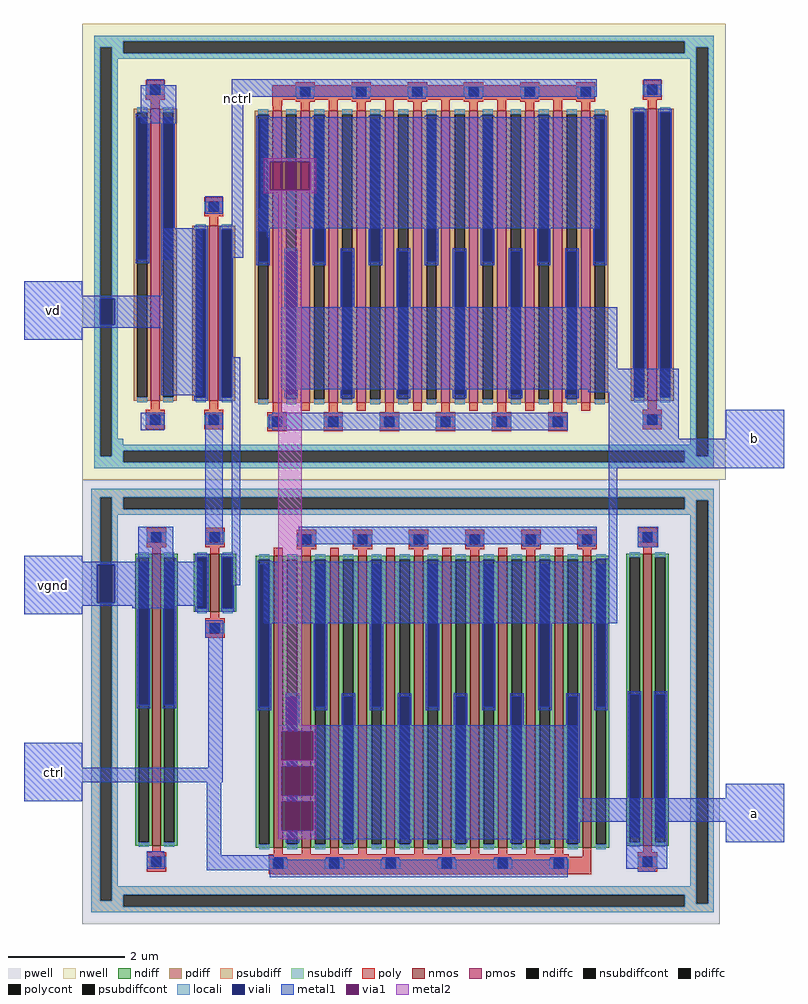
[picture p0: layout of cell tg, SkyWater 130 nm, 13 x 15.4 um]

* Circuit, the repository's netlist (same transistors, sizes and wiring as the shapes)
** sch_path: /foss/designs/projects/dpga-ieee-sscs-contest/xschem/tg.sch
.subckt tg vd vgnd b a ctrl
*.PININFO vd:B vgnd:B b:B a:B ctrl:I
XM2 b nctrl a vd sky130_fd_pr__pfet_01v8 L=0.15 W=60 nf=12 ad='int((nf+1)/2) * W/nf * 0.29' as='int((nf+2)/2) * W/nf * 0.29'
+ pd='2*int((nf+1)/2) * (W/nf + 0.29)' ps='2*int((nf+2)/2) * (W/nf + 0.29)' nrd='0.29 / W' nrs='0.29 / W'
+ sa=0 sb=0 sd=0 mult=1 m=1
XM1 a ctrl b vgnd sky130_fd_pr__nfet_01v8 L=0.15 W=60 nf=12 ad='int((nf+1)/2) * W/nf * 0.29' as='int((nf+2)/2) * W/nf * 0.29'
+ pd='2*int((nf+1)/2) * (W/nf + 0.29)' ps='2*int((nf+2)/2) * (W/nf + 0.29)' nrd='0.29 / W' nrs='0.29 / W'
+ sa=0 sb=0 sd=0 mult=1 m=1
XM3 nctrl ctrl vgnd vgnd sky130_fd_pr__nfet_01v8 L=0.15 W=1 nf=1 ad='int((nf+1)/2) * W/nf * 0.29' as='int((nf+2)/2) * W/nf * 0.29'
+ pd='2*int((nf+1)/2) * (W/nf + 0.29)' ps='2*int((nf+2)/2) * (W/nf + 0.29)' nrd='0.29 / W' nrs='0.29 / W'
+ sa=0 sb=0 sd=0 mult=1 m=1
XM4 nctrl ctrl vd vd sky130_fd_pr__pfet_01v8 L=0.15 W=3 nf=1 ad='int((nf+1)/2) * W/nf * 0.29' as='int((nf+2)/2) * W/nf * 0.29'
+ pd='2*int((nf+1)/2) * (W/nf + 0.29)' ps='2*int((nf+2)/2) * (W/nf + 0.29)' nrd='0.29 / W' nrs='0.29 / W'
+ sa=0 sb=0 sd=0 mult=1 m=1
XM5 vd vd vd vd sky130_fd_pr__pfet_01v8 L=0.15 W=5 nf=1 ad='int((nf+1)/2) * W/nf * 0.29' as='int((nf+2)/2) * W/nf * 0.29'
+ pd='2*int((nf+1)/2) * (W/nf + 0.29)' ps='2*int((nf+2)/2) * (W/nf + 0.29)' nrd='0.29 / W' nrs='0.29 / W'
+ sa=0 sb=0 sd=0 mult=1 m=1
XM6 b b b vd sky130_fd_pr__pfet_01v8 L=0.15 W=5 nf=1 ad='int((nf+1)/2) * W/nf * 0.29' as='int((nf+2)/2) * W/nf * 0.29'
+ pd='2*int((nf+1)/2) * (W/nf + 0.29)' ps='2*int((nf+2)/2) * (W/nf + 0.29)' nrd='0.29 / W' nrs='0.29 / W'
+ sa=0 sb=0 sd=0 mult=1 m=1
XM7 vgnd vgnd vgnd vgnd sky130_fd_pr__nfet_01v8 L=0.15 W=5 nf=1 ad='int((nf+1)/2) * W/nf * 0.29' as='int((nf+2)/2) * W/nf * 0.29'
+ pd='2*int((nf+1)/2) * (W/nf + 0.29)' ps='2*int((nf+2)/2) * (W/nf + 0.29)' nrd='0.29 / W' nrs='0.29 / W'
+ sa=0 sb=0 sd=0 mult=1 m=1
XM8 a a a vgnd sky130_fd_pr__nfet_01v8 L=0.15 W=5 nf=1 ad='int((nf+1)/2) * W/nf * 0.29' as='int((nf+2)/2) * W/nf * 0.29'
+ pd='2*int((nf+1)/2) * (W/nf + 0.29)' ps='2*int((nf+2)/2) * (W/nf + 0.29)' nrd='0.29 / W' nrs='0.29 / W'
+ sa=0 sb=0 sd=0 mult=1 m=1
.ends
.end

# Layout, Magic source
magic
tech sky130A
magscale 1 2
<< nwell >>
rect -500 2100 1700 3660
<< pwell >>
rect -500 580 1680 2100
<< psubdiff >>
rect -470 2040 1660 2070
rect -470 660 -440 2040
rect -400 2000 -360 2040
rect 1560 2030 1660 2040
rect 1560 2000 1600 2030
rect -400 1980 1600 2000
rect -400 710 -380 1980
rect 1580 710 1600 1980
rect -400 680 1600 710
rect -400 660 -360 680
rect -470 640 -360 660
rect 1560 650 1600 680
rect 1640 650 1660 2030
rect 1560 640 1660 650
rect -470 620 1660 640
<< nsubdiff >>
rect -460 3600 1660 3620
rect -460 3580 -360 3600
rect -460 2180 -440 3580
rect -400 3560 -360 3580
rect 1560 3580 1660 3600
rect 1560 3560 1600 3580
rect -400 3540 1600 3560
rect -400 2240 -380 3540
rect -400 2220 -360 2240
rect 1580 2220 1600 3540
rect -400 2200 1600 2220
rect -400 2180 -360 2200
rect -460 2160 -360 2180
rect 1560 2180 1600 2200
rect 1640 2180 1660 3580
rect 1560 2160 1660 2180
rect -460 2140 1660 2160
<< psubdiffcont >>
rect -440 660 -400 2040
rect -360 2000 1560 2040
rect -360 640 1560 680
rect 1600 650 1640 2030
<< nsubdiffcont >>
rect -440 2180 -400 3580
rect -360 3560 1560 3600
rect -360 2160 1560 2200
rect 1600 2180 1640 3580
<< poly >>
rect 150 3400 1240 3450
rect 150 3380 184 3400
rect 343 3363 373 3400
rect 535 3363 565 3400
rect 727 3363 757 3400
rect 919 3385 949 3400
rect 919 3363 945 3385
rect 1111 3380 1141 3400
rect 150 819 1146 820
rect 150 810 1158 819
rect 1211 810 1241 817
rect 150 760 1241 810
rect 150 750 1240 760
<< locali >>
rect -460 3600 1660 3620
rect -460 3580 -360 3600
rect -460 2180 -440 3580
rect -400 3560 -360 3580
rect 1560 3580 1660 3600
rect 1560 3560 1600 3580
rect -400 3540 1600 3560
rect -400 2720 -380 3540
rect -390 2630 -380 2720
rect -400 2240 -380 2630
rect -400 2220 -360 2240
rect 1580 2220 1600 3540
rect -400 2200 1600 2220
rect -400 2180 -360 2200
rect -460 2160 -360 2180
rect 1560 2180 1600 2200
rect 1640 2180 1660 3580
rect 1560 2160 1660 2180
rect -460 2140 1660 2160
rect -470 2040 1660 2070
rect -470 1810 -440 2040
rect -400 2000 -360 2040
rect 1560 2030 1660 2040
rect 1560 2000 1600 2030
rect -400 1980 1600 2000
rect -400 1810 -380 1980
rect -470 1680 -450 1810
rect -390 1680 -380 1810
rect -470 660 -440 1680
rect -400 710 -380 1680
rect 1580 710 1600 1980
rect -400 680 1600 710
rect -400 660 -360 680
rect -470 640 -360 660
rect 1560 650 1600 680
rect 1640 650 1660 2030
rect 1560 640 1660 650
rect -470 620 1660 640
<< viali >>
rect -440 2630 -400 2720
rect -400 2630 -390 2720
rect -450 1680 -440 1810
rect -440 1680 -400 1810
rect -400 1680 -390 1810
<< metal1 >>
rect -280 3450 -220 3470
rect -300 3320 -180 3450
rect 10 3410 1260 3470
rect 1420 3410 1480 3470
rect -80 3010 -20 3070
rect -700 2730 -500 2780
rect -230 2730 -90 2960
rect 10 2860 50 3410
rect 110 3190 1270 3340
rect 110 3090 140 3190
rect 280 3090 1270 3190
rect 110 3030 1270 3090
rect 100 2960 1270 3030
rect 100 2950 140 2960
rect 130 2930 140 2950
rect -700 2720 -90 2730
rect -700 2630 -440 2720
rect -390 2630 -90 2720
rect -700 2620 -90 2630
rect -700 2580 -500 2620
rect -230 2390 -90 2620
rect -300 2270 -220 2330
rect -700 1820 -500 1840
rect -310 1820 -190 1940
rect -80 1880 -20 2330
rect -700 1810 -90 1820
rect -700 1680 -450 1810
rect -390 1680 -90 1810
rect 10 1740 40 2520
rect 180 2480 1330 2690
rect 180 2410 1540 2480
rect 1230 2400 1540 2410
rect 150 2270 1160 2330
rect 1300 2240 1540 2400
rect 1700 2240 1900 2340
rect 1300 2140 1900 2240
rect 240 1880 1260 1940
rect 1300 1830 1330 2140
rect 1400 1870 1470 1940
rect 1260 1820 1330 1830
rect -700 1670 -90 1680
rect -700 1640 -500 1670
rect -330 1660 -190 1670
rect -80 1560 -20 1620
rect 120 1610 1330 1820
rect -700 1115 -500 1200
rect -70 1115 -20 1560
rect -700 1065 -20 1115
rect 170 1240 1200 1260
rect 170 1140 180 1240
rect 290 1140 1200 1240
rect 170 1120 1200 1140
rect -700 1000 -500 1065
rect -280 770 -220 830
rect -75 815 -25 1065
rect 170 1020 180 1120
rect 290 1020 1200 1120
rect 170 1010 1200 1020
rect 1700 1010 1900 1060
rect 170 1000 1900 1010
rect 170 900 180 1000
rect 290 930 1900 1000
rect 290 900 1200 930
rect 170 870 1200 900
rect -75 800 155 815
rect -75 765 1160 800
rect 1360 770 1500 930
rect 1700 860 1900 930
rect 140 740 1160 765
rect 1400 760 1460 770
<< via1 >>
rect 140 3090 280 3190
rect 180 1140 290 1240
rect 180 1020 290 1120
rect 180 900 290 1000
<< metal2 >>
rect 120 3190 300 3200
rect 120 3090 140 3190
rect 280 3090 300 3190
rect 120 3080 300 3090
rect 170 1260 250 3080
rect 170 1240 300 1260
rect 170 1140 180 1240
rect 290 1140 300 1240
rect 170 1120 300 1140
rect 170 1020 180 1120
rect 290 1020 300 1120
rect 170 1000 300 1020
rect 170 900 180 1000
rect 290 900 300 1000
rect 170 870 300 900
use sky130_fd_pr__pfet_01v8_8QR85J  XM2
transform 1 0 -251 0 1 2870
box -109 -600 109 600
use sky130_fd_pr__nfet_01v8_4W7PEP  XM3
transform 1 0 -47 0 1 1748
box -73 -188 73 188
use sky130_fd_pr__pfet_01v8_XGAKDL  XM4
transform 1 0 -51 0 1 2670
box -109 -400 109 400
use sky130_fd_pr__nfet_01v8_ECDJHW  sky130_fd_pr__nfet_01v8_ECDJHW_0
transform 1 0 698 0 1 1341
box -605 -588 605 588
use sky130_fd_pr__nfet_01v8_VQ5UWM  sky130_fd_pr__nfet_01v8_VQ5UWM_1
transform 1 0 -247 0 1 1348
box -73 -588 73 588
use sky130_fd_pr__nfet_01v8_VU5CXM  sky130_fd_pr__nfet_01v8_VU5CXM_0
transform 1 0 1433 0 1 1348
box -73 -588 73 588
use sky130_fd_pr__pfet_01v8_PM4G2P  sky130_fd_pr__pfet_01v8_PM4G2P_0
transform 1 0 694 0 1 2863
box -641 -600 641 600
use sky130_fd_pr__pfet_01v8_UGA66J  sky130_fd_pr__pfet_01v8_UGA66J_0
transform 1 0 1449 0 1 2870
box -109 -600 109 600
<< labels >>
flabel metal1 -700 2580 -500 2780 0 FreeSans 256 0 0 0 vd
port 0 nsew
flabel metal1 1700 2140 1900 2340 0 FreeSans 256 0 0 0 b
port 2 nsew
flabel metal1 -700 1640 -500 1840 0 FreeSans 256 0 0 0 vgnd
port 1 nsew
flabel metal1 -700 1000 -500 1200 0 FreeSans 256 0 0 0 ctrl
port 4 nsew
flabel metal1 1700 860 1900 1060 0 FreeSans 256 0 0 0 a
port 3 nsew
flabel metal1 20 3400 40 3410 0 FreeSans 1600 0 0 0 nctrl
<< end >>

# cell sky130_fd_pr__pfet_01v8_8QR85J: kit device sky130_fd_pr__pfet_01v8, w 5.0 l 0.15 m 1 nf 1 diffcov 100 polycov 100 guard 0 glc 1 grc 1 gtc 1 gbc 1 tbcov 100 rlcov 100 topc 1 botc 1 poverlap 0 doverlap 1 lmin 0.15 wmin 0.42 compatible {sky130_fd_pr__pfet_01v8 sky130_fd_pr__pfet_01v8_lvt sky130_fd_pr__pfet_01v8_hvt sky130_fd_pr__pfet_g5v0d10v5} full_metal 1 viasrc -50 viadrn -50 viagate 100 viagb 0 viagr 0 viagl 0 viagt 0

# cell sky130_fd_pr__nfet_01v8_4W7PEP: kit device sky130_fd_pr__nfet_01v8, w 1.0 l 0.15 m 1 nf 1 diffcov 100 polycov 100 guard 0 glc 1 grc 1 gtc 1 gbc 1 tbcov 100 rlcov 100 topc 1 botc 1 poverlap 0 doverlap 1 lmin 0.15 wmin 0.42 compatible {sky130_fd_pr__nfet_01v8 sky130_fd_pr__nfet_01v8_lvt sky130_fd_bs_flash__special_sonosfet_star sky130_fd_pr__nfet_g5v0d10v5 sky130_fd_pr__nfet_05v0_nvt sky130_fd_pr__nfet_03v3_nvt} full_metal 1 viasrc 100 viadrn 100 viagate 100 viagb 0 viagr 0 viagl 0 viagt 0

# cell sky130_fd_pr__pfet_01v8_XGAKDL: kit device sky130_fd_pr__pfet_01v8, w 3.0 l 0.15 m 1 nf 1 diffcov 100 polycov 100 guard 0 glc 1 grc 1 gtc 1 gbc 1 tbcov 100 rlcov 100 topc 1 botc 1 poverlap 0 doverlap 1 lmin 0.15 wmin 0.42 compatible {sky130_fd_pr__pfet_01v8 sky130_fd_pr__pfet_01v8_lvt sky130_fd_pr__pfet_01v8_hvt sky130_fd_pr__pfet_g5v0d10v5} full_metal 1 viasrc 100 viadrn 100 viagate 100 viagb 0 viagr 0 viagl 0 viagt 0

# cell sky130_fd_pr__nfet_01v8_ECDJHW: kit device sky130_fd_pr__nfet_01v8, w 5.0 l 0.15 m 1 nf 12 diffcov 100 polycov 100 guard 0 glc 1 grc 1 gtc 1 gbc 1 tbcov 100 rlcov 100 topc 1 botc 1 poverlap 0 doverlap 1 lmin 0.15 wmin 0.42 compatible {sky130_fd_pr__nfet_01v8 sky130_fd_pr__nfet_01v8_lvt sky130_fd_bs_flash__special_sonosfet_star sky130_fd_pr__nfet_g5v0d10v5 sky130_fd_pr__nfet_05v0_nvt sky130_fd_pr__nfet_03v3_nvt} full_metal 1 viasrc +50 viadrn -50 viagate 100 viagb 0 viagr 0 viagl 0 viagt 0

# cell sky130_fd_pr__nfet_01v8_VQ5UWM: kit device sky130_fd_pr__nfet_01v8, w 5.0 l 0.15 m 1 nf 1 diffcov 100 polycov 100 guard 0 glc 1 grc 1 gtc 1 gbc 1 tbcov 100 rlcov 100 topc 1 botc 1 poverlap 0 doverlap 1 lmin 0.15 wmin 0.42 compatible {sky130_fd_pr__nfet_01v8 sky130_fd_pr__nfet_01v8_lvt sky130_fd_bs_flash__special_sonosfet_star sky130_fd_pr__nfet_g5v0d10v5 sky130_fd_pr__nfet_05v0_nvt sky130_fd_pr__nfet_03v3_nvt} full_metal 1 viasrc -50 viadrn -50 viagate 100 viagb 0 viagr 0 viagl 0 viagt 0

# cell sky130_fd_pr__nfet_01v8_VU5CXM: kit device sky130_fd_pr__nfet_01v8, w 5.0 l 0.15 m 1 nf 1 diffcov 100 polycov 100 guard 0 glc 1 grc 1 gtc 1 gbc 1 tbcov 100 rlcov 100 topc 1 botc 1 poverlap 0 doverlap 1 lmin 0.15 wmin 0.42 compatible {sky130_fd_pr__nfet_01v8 sky130_fd_pr__nfet_01v8_lvt sky130_fd_bs_flash__special_sonosfet_star sky130_fd_pr__nfet_g5v0d10v5 sky130_fd_pr__nfet_05v0_nvt sky130_fd_pr__nfet_03v3_nvt} full_metal 1 viasrc +50 viadrn +50 viagate 100 viagb 0 viagr 0 viagl 0 viagt 0

# cell sky130_fd_pr__pfet_01v8_PM4G2P: kit device sky130_fd_pr__pfet_01v8, w 5.0 l 0.15 m 1 nf 12 diffcov 100 polycov 100 guard 0 glc 1 grc 1 gtc 1 gbc 1 tbcov 100 rlcov 100 topc 1 botc 1 poverlap 0 doverlap 1 lmin 0.15 wmin 0.42 compatible {sky130_fd_pr__pfet_01v8 sky130_fd_pr__pfet_01v8_lvt sky130_fd_pr__pfet_01v8_hvt sky130_fd_pr__pfet_g5v0d10v5} full_metal 1 viasrc +50 viadrn -50 viagate 100 viagb 0 viagr 0 viagl 0 viagt 0

# cell sky130_fd_pr__pfet_01v8_UGA66J: kit device sky130_fd_pr__pfet_01v8, w 5.0 l 0.15 m 1 nf 1 diffcov 100 polycov 100 guard 0 glc 1 grc 1 gtc 1 gbc 1 tbcov 100 rlcov 100 topc 1 botc 1 poverlap 0 doverlap 1 lmin 0.15 wmin 0.42 compatible {sky130_fd_pr__pfet_01v8 sky130_fd_pr__pfet_01v8_lvt sky130_fd_pr__pfet_01v8_hvt sky130_fd_pr__pfet_g5v0d10v5} full_metal 1 viasrc 100 viadrn 100 viagate 100 viagb 0 viagr 0 viagl 0 viagt 0
